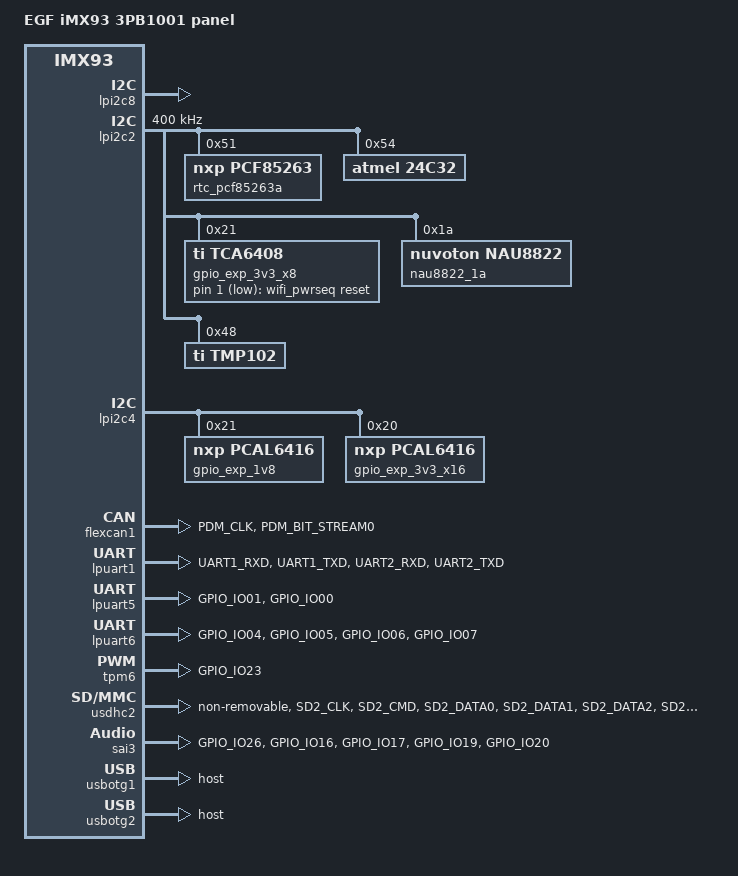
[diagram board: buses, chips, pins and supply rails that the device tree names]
/dts-v1/;

#include "imx93-egf-3sm1010.dtsi"

/ {
	model = "EGF iMX93 3PB1001 panel";
	compatible = "fsl,imx93";

	sound {
		compatible = "simple-audio-card";
		simple-audio-card,bitclock-master = <&codec_dai>;
		simple-audio-card,format = "i2s";
		simple-audio-card,frame-master = <&codec_dai>;
		simple-audio-card,mclk-fs = <256>;
		simple-audio-card,name = "imx93-nau8822";
		simple-audio-card,routing =
			"Headphones", "LHP",
			"Headphones", "RHP",
			"Speaker", "LSPK",
			"Speaker", "RSPK",
			"Line Out", "AUXOUT1",
			"Line Out", "AUXOUT2",
			"LAUX", "Line In",
			"RAUX", "Line In",
			"LMICP", "Mic In",
			"RMICP", "Mic In";
		simple-audio-card,widgets =
			"Headphones", "Headphones",
			"Line Out", "Line Out",
			"Speaker", "Speaker",
			"Microphone", "Mic In",
			"Line", "Line In";

		codec_dai: simple-audio-card,codec {
			sound-dai = <&nau8822_1a>;
			clocks = <&clk IMX93_CLK_SAI3_GATE>;
		};

		simple-audio-card,cpu {
			sound-dai = <&sai3>;
		};

	};

	wifi_pwrseq: pwrseq {
		compatible = "mmc-pwrseq-simple";
		reset-gpios = <&gpio_exp_3v3_x8 1 GPIO_ACTIVE_LOW>;
	};
};

&lpi2c8 {
	status = "okay";
};

&lpi2c2 {
	clock-frequency = <400000>;
	pinctrl-names = "default";
	pinctrl-0 = <&pinctrl_lpi2c2>;
	status = "okay";

    // RTC carrier
    rtc_pcf85263a: rtc@51 {
        compatible = "nxp,pcf85263";
        reg = <0x51>;
    };

    // EEPROM carrier
    24c32@54 {
        compatible = "atmel,24c32";
        pinctrl-names = "default";
        reg = <0x54>;
        pagesize = <32>;
    };
    
    // IO EXPANDER U46
    gpio_exp_3v3_x8: gpio@21 {
        compatible = "ti,tca6408";
        reg = <0x21>;
        gpio-controller;
        #gpio-cells = <2>;
    };
    
    nau8822_1a: nau8822@1a {
        compatible = "nuvoton,nau8822";
        reg = <0x1a>;
        #sound-dai-cells = <0>;
        clocks = <&clk IMX93_CLK_SAI3_GATE>;
        clock-names = "mclk";
    };
    
    // Temp Sensor Carrier
    tmp102@48 {
        reg = <0x48>;
        compatible = "ti,tmp102";
    };
};

&lpi2c4 {
	status = "okay";

	// IO EXPANDER U41
    gpio_exp_1v8: gpio@21 {
		compatible = "nxp,pcal6416";
		#address-cells = <1>;
		#size-cells = <0>;
		gpio-controller;
		#gpio-cells = <2>;
		reg = <0x21>;
		status = "okay";
	};

	// IO EXPANDER U42
    gpio_exp_3v3_x16: gpio@20 {
		compatible = "nxp,pcal6416";
		#address-cells = <1>;
		#size-cells = <0>;
		gpio-controller;
		#gpio-cells = <2>;
		reg = <0x20>;
		status = "okay";
	};

};

&flexcan1 {
	pinctrl-names = "default";
	pinctrl-0 = <&pinctrl_flexcan1>;
	status = "okay";
};

&lpuart1 { 
	pinctrl-names = "default";
	pinctrl-0 = <&pinctrl_uart1>;
	status = "okay";
};

&lpuart5 {
	pinctrl-names = "default";
	pinctrl-0 = <&pinctrl_uart5>;
	pinctrl-assert-gpios = <&io_expander_u21 9 GPIO_ACTIVE_LOW>;
	status = "okay";
};

&lpuart6 {
	pinctrl-names = "default";
	pinctrl-0 = <&pinctrl_uart6>;
	status = "okay";
};

&tpm6 {
	status = "okay";
	pinctrl-names = "default";
	pinctrl-0 = <&pinctrl_tpm6>;
};

&usdhc2 {
	assigned-clocks = <&clk IMX93_CLK_USDHC2>;
	pinctrl-names = "default", "state_100mhz", "state_200mhz";
	pinctrl-0 = <&pinctrl_usdhc2>;
	pinctrl-1 = <&pinctrl_usdhc2_100mhz>;
	pinctrl-2 = <&pinctrl_usdhc2_200mhz>;
	non-removable;
	keep-power-in-suspend;
	mmc-pwrseq = <&wifi_pwrseq>;
	status = "okay";
};

&sai3 {
	#sound-dai-cells = <0>;
	pinctrl-names = "default";
	pinctrl-0 = <&pinctrl_sai3>;
	assigned-clocks = <&clk IMX93_CLK_SAI3>;
	assigned-clock-parents = <&clk IMX93_CLK_AUDIO_PLL>;
	assigned-clock-rates = <24576000>;
	clocks = <&clk IMX93_CLK_SAI3_IPG>, <&clk IMX93_CLK_DUMMY>,
		 	 <&clk IMX93_CLK_SAI3_GATE>, <&clk IMX93_CLK_DUMMY>,
		 	 <&clk IMX93_CLK_DUMMY>;
	clock-names = "bus", "mclk0", "mclk1", "mclk2", "mclk3";
	fsl,sai-mclk-direction-output;
	status = "okay";
};

&usbotg1 {
	dr_mode = "host";
	hnp-disable;
	srp-disable;
	adp-disable;
	disable-over-current;
	samsung,picophy-pre-emp-curr-control = <3>;
	samsung,picophy-dc-vol-level-adjust = <7>;
	status = "okay";
};

&usbotg2 {
	dr_mode = "host";
	disable-over-current;
	samsung,picophy-pre-emp-curr-control = <3>;
	samsung,picophy-dc-vol-level-adjust = <7>;
	status = "okay";
};


&iomuxc {
    pinctrl-names = "default";
	pinctrl-0 = <&pinctrl_egf>;

	pinctrl_egf: egfgrp {
		// gpio reset# LTE module
		fsl,pins = <
			MX93_PAD_GPIO_IO27__GPIO2_IO27	0x31e
		>;
	};

    pinctrl_flexcan1: flexcan1grp {
		fsl,pins = <
            MX93_PAD_PDM_CLK__CAN1_TX               0x139e
            MX93_PAD_PDM_BIT_STREAM0__CAN1_RX       0x139e
		>;
	};

    pinctrl_uart1: uart1grp {
		fsl,pins = <
			MX93_PAD_UART1_RXD__LPUART1_RX	        0x31e
			MX93_PAD_UART1_TXD__LPUART1_TX	        0x31e
			MX93_PAD_UART2_RXD__LPUART1_CTS_B		0x31e
			MX93_PAD_UART2_TXD__LPUART1_RTS_B		0x31e
		>;
	};

    pinctrl_uart5: uart5grp {
		fsl,pins = <
			MX93_PAD_GPIO_IO01__LPUART5_RX	        0x31e
			MX93_PAD_GPIO_IO00__LPUART5_TX	        0x31e
		>;
	};

	pinctrl_uart6: uart6grp {
		fsl,pins = <
			MX93_PAD_GPIO_IO04__LPUART6_TX	        0x31e
			MX93_PAD_GPIO_IO05__LPUART6_RX	        0x31e
			MX93_PAD_GPIO_IO06__LPUART6_CTS_B		0x31e
			MX93_PAD_GPIO_IO07__LPUART6_RTS_B		0x31e
		>;
	};

	pinctrl_tpm6: tpm6grp {
		fsl,pins = <
			MX93_PAD_GPIO_IO23__TPM6_CH1            0x31e
		>;
	};

	pinctrl_usdhc2: usdhc2grp {
		fsl,pins = <
            MX93_PAD_SD2_CLK__USDHC2_CLK			0x1582
			MX93_PAD_SD2_CMD__USDHC2_CMD			0x40001382
			MX93_PAD_SD2_DATA0__USDHC2_DATA0		0x40001382
			MX93_PAD_SD2_DATA1__USDHC2_DATA1		0x40001382
			MX93_PAD_SD2_DATA2__USDHC2_DATA2		0x40001382
			MX93_PAD_SD2_DATA3__USDHC2_DATA3		0x40001382
		>;
	};

	pinctrl_usdhc2_100mhz: usdhc2-100mhzgrp {
		fsl,pins = <
			MX93_PAD_SD2_CLK__USDHC2_CLK			0x158e
			MX93_PAD_SD2_CMD__USDHC2_CMD			0x4000138e
			MX93_PAD_SD2_DATA0__USDHC2_DATA0		0x4000138e
			MX93_PAD_SD2_DATA1__USDHC2_DATA1		0x4000138e
			MX93_PAD_SD2_DATA2__USDHC2_DATA2		0x4000138e
			MX93_PAD_SD2_DATA3__USDHC2_DATA3		0x4000138e
		>;
	};

	pinctrl_usdhc2_200mhz: usdhc2-200mhzgrp {
		fsl,pins = <
			MX93_PAD_SD2_CLK__USDHC2_CLK			0x15fe
			MX93_PAD_SD2_CMD__USDHC2_CMD			0x400013fe
			MX93_PAD_SD2_DATA0__USDHC2_DATA0		0x400013fe
			MX93_PAD_SD2_DATA1__USDHC2_DATA1		0x400013fe
			MX93_PAD_SD2_DATA2__USDHC2_DATA2		0x400013fe
			MX93_PAD_SD2_DATA3__USDHC2_DATA3		0x400013fe
		>;
	};

	pinctrl_sai3: sai3grp {
		fsl,pins = <
			MX93_PAD_GPIO_IO26__SAI3_TX_SYNC		0x31e
			MX93_PAD_GPIO_IO16__SAI3_TX_BCLK		0x31e
			MX93_PAD_GPIO_IO17__SAI3_MCLK			0x31e
			MX93_PAD_GPIO_IO19__SAI3_TX_DATA00		0x31e
			MX93_PAD_GPIO_IO20__SAI3_RX_DATA00		0x31e
		>;
	};
};
